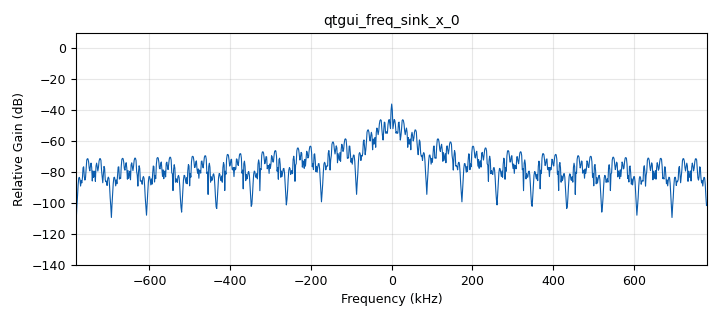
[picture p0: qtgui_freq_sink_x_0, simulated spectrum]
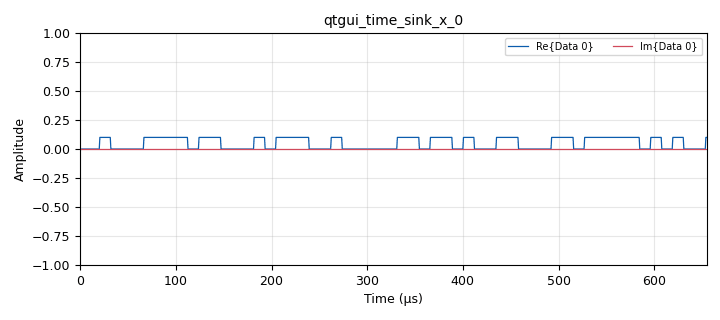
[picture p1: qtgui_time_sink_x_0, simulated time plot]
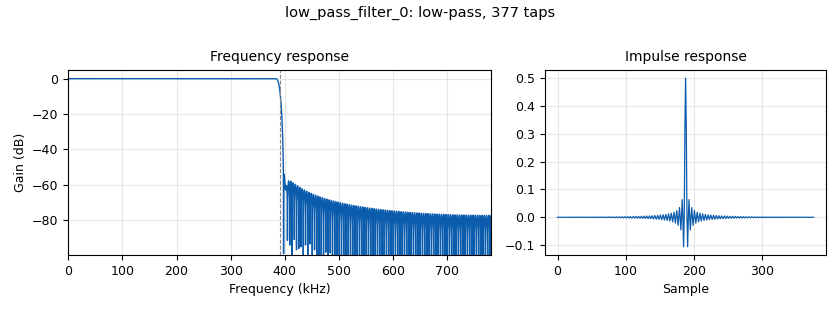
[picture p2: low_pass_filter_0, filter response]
options:
  parameters:
    author: ' Barrios_Jimenez'
    copyright: UIS
    generate_options: qt_gui
    id: Modulaciones_ASK
    output_language: python
    title: Modulaciones_ASK
  states: {}

blocks:
- name: Ac
  id: variable_qtgui_range
  parameters:
    label: amplitud de la portadora
    start: '0'
    step: '100e-3'
    stop: '2'
    value: '0.1'
  states: {}
- name: GRX
  id: variable_qtgui_range
  parameters:
    label: Ganancia del RX
    start: '0'
    step: '500e-3'
    stop: '31'
    value: '0'
  states: {}
- name: GTX
  id: variable_qtgui_range
  parameters:
    label: Ganancia de TX
    start: '0'
    step: '1'
    stop: '30'
    value: '0'
  states: {}
- name: fa
  id: variable_qtgui_range
  parameters:
    label: frecuencia del filtro
    start: '0'
    step: 1.5625e3
    stop: 781.25e3
    value: 390.62e3
  states: {}
- name: fc
  id: variable_qtgui_range
  parameters:
    label: frecuencia de portadora
    start: 50e6
    step: 1e6
    stop: 2.2e9
    value: 50e6
  states: {}
- name: ka
  id: variable_qtgui_range
  parameters:
    label: Coeficiente ka
    start: '0'
    step: '100e-3'
    stop: '4'
    value: '1'
  states: {}
- name: samp_rate
  id: variable
  parameters:
    value: 12500000/8
  states: {}
- name: analog_random_source_x_0
  id: analog_random_source_x
  parameters:
    max: '2'
    min: '0'
    num_samps: '100000'
    repeat: 'True'
    type: byte
  states: {}
- name: blocks_add_const_vxx_0
  id: blocks_add_const_vxx
  parameters:
    const: '0'
    type: float
  states: {}
- name: blocks_complex_to_mag_0
  id: blocks_complex_to_mag
  parameters: {}
  states: {}
- name: blocks_float_to_complex_0
  id: blocks_float_to_complex
  parameters: {}
  states: {}
- name: blocks_multiply_const_vxx_0
  id: blocks_multiply_const_vxx
  parameters:
    const: ka
    type: float
  states: {}
- name: blocks_multiply_const_vxx_0_0
  id: blocks_multiply_const_vxx
  parameters:
    const: Ac
    type: complex
  states: {}
- name: blocks_null_source_0
  id: blocks_null_source
  parameters:
    type: float
  states: {}
- name: blocks_repeat_0
  id: blocks_repeat
  parameters:
    interp: '18'
    type: float
  states: {}
- name: blocks_uchar_to_float_0
  id: blocks_uchar_to_float
  parameters: {}
  states: {}
- name: low_pass_filter_0
  id: low_pass_filter
  parameters:
    cutoff_freq: fa
    decim: '1'
    gain: '1'
    samp_rate: samp_rate
    type: fir_filter_ccf
    width: '10000'
    win: window.WIN_HAMMING
  states: {}
- name: qtgui_freq_sink_x_0
  id: qtgui_freq_sink_x
  parameters:
    bw: samp_rate
    fc: '0'
    fftsize: '1024'
    type: complex
  states: {}
- name: qtgui_time_sink_x_0
  id: qtgui_time_sink_x
  parameters:
    size: '1024'
    srate: samp_rate
    type: complex
  states: {}
- name: qtgui_time_sink_x_0_0
  id: qtgui_time_sink_x
  parameters:
    size: '1024'
    srate: samp_rate
    type: float
  states: {}
- name: uhd_usrp_sink_0
  id: uhd_usrp_sink
  parameters:
    ant0: '"TX/RX"'
    center_freq0: fc
    gain0: GTX
    samp_rate: samp_rate
    sync: pc_clock
    type: fc32
  states: {}
- name: uhd_usrp_source_0
  id: uhd_usrp_source
  parameters:
    ant0: '"RX2"'
    center_freq0: fc
    gain0: GRX
    samp_rate: samp_rate
    sync: pc_clock
    type: fc32
  states: {}

connections:
- [analog_random_source_x_0, '0', blocks_uchar_to_float_0, '0']
- [blocks_add_const_vxx_0, '0', blocks_float_to_complex_0, '0']
- [blocks_complex_to_mag_0, '0', qtgui_time_sink_x_0_0, '0']
- [blocks_float_to_complex_0, '0', blocks_multiply_const_vxx_0_0, '0']
- [blocks_multiply_const_vxx_0, '0', blocks_add_const_vxx_0, '0']
- [blocks_multiply_const_vxx_0_0, '0', qtgui_freq_sink_x_0, '0']
- [blocks_multiply_const_vxx_0_0, '0', qtgui_time_sink_x_0, '0']
- [blocks_multiply_const_vxx_0_0, '0', uhd_usrp_sink_0, '0']
- [blocks_null_source_0, '0', blocks_float_to_complex_0, '1']
- [blocks_repeat_0, '0', blocks_multiply_const_vxx_0, '0']
- [blocks_uchar_to_float_0, '0', blocks_repeat_0, '0']
- [low_pass_filter_0, '0', blocks_complex_to_mag_0, '0']
- [uhd_usrp_source_0, '0', low_pass_filter_0, '0']

metadata:
  file_format: 1
